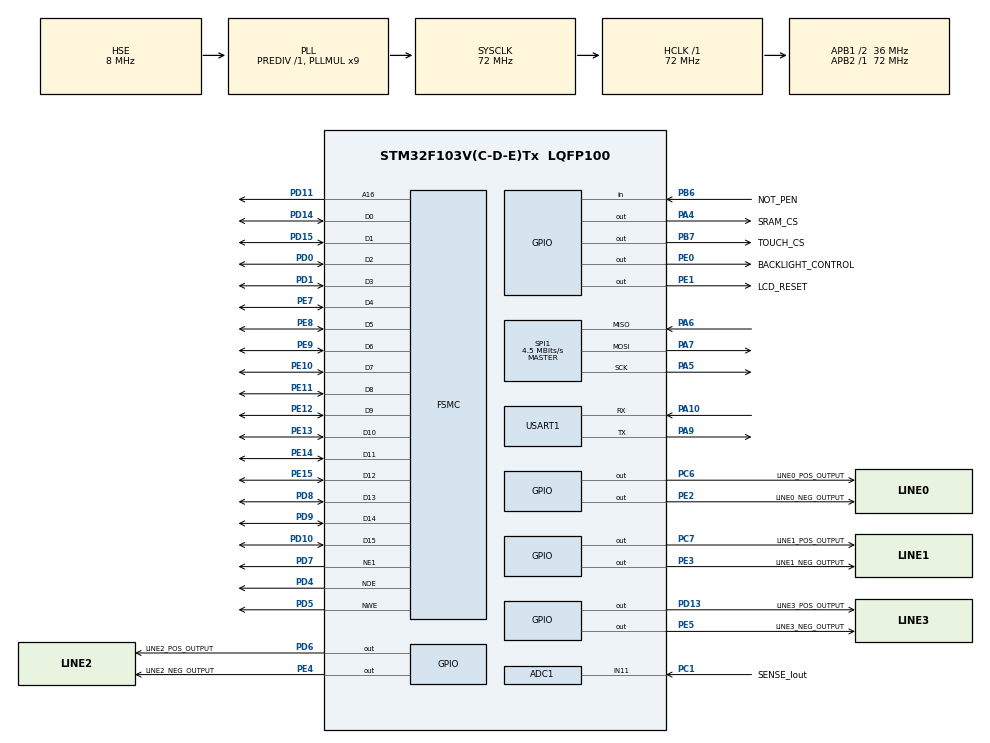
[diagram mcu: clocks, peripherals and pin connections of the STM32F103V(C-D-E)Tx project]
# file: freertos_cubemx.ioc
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ADC1.Channel-8\#ChannelRegularConversion=ADC_CHANNEL_11
ADC1.ContinuousConvMode=ENABLE
ADC1.NbrOfConversionFlag=1
ADC1.Rank-8\#ChannelRegularConversion=1
ADC1.SamplingTime-8\#ChannelRegularConversion=ADC_SAMPLETIME_1CYCLE_5
ADC1.master=1
Dma.ADC1.1.Direction=DMA_PERIPH_TO_MEMORY
Dma.ADC1.1.Instance=DMA1_Channel1
Dma.ADC1.1.MemDataAlignment=DMA_MDATAALIGN_HALFWORD
Dma.ADC1.1.MemInc=DMA_MINC_ENABLE
Dma.ADC1.1.Mode=DMA_NORMAL
Dma.ADC1.1.PeriphDataAlignment=DMA_PDATAALIGN_HALFWORD
Dma.ADC1.1.PeriphInc=DMA_PINC_DISABLE
Dma.ADC1.1.Priority=DMA_PRIORITY_LOW
Dma.Request0=USART1_RX
Dma.Request1=ADC1
Dma.USART1_RX.0.Direction=DMA_PERIPH_TO_MEMORY
Dma.USART1_RX.0.Instance=DMA1_Channel5
Dma.USART1_RX.0.MemDataAlignment=DMA_MDATAALIGN_BYTE
Dma.USART1_RX.0.MemInc=DMA_MINC_ENABLE
Dma.USART1_RX.0.Mode=DMA_NORMAL
Dma.USART1_RX.0.PeriphDataAlignment=DMA_PDATAALIGN_BYTE
Dma.USART1_RX.0.PeriphInc=DMA_PINC_DISABLE
Dma.USART1_RX.0.Priority=DMA_PRIORITY_LOW
FREERTOS.HEAP_NUMBER=4
FREERTOS.Tasks01=defaultTask,0,512,StartDefaultTask,Default,NULL,Dynamic,NULL,NULL;GUI,0,600,vTaskGUI,Default,NULL,Dynamic,NULL,NULL;TaskLine0,0,128,vTaskLine0,Default,NULL,Dynamic,NULL,NULL;TaskLine1,0,128,vTaskLine1,Default,NULL,Dynamic,NULL,NULL;TaskLine2,0,128,vTaskLine2,Default,NULL,Dynamic,NULL,NULL;TaskLine3,0,128,vTaskLine3,Default,NULL,Dynamic,NULL,NULL
FREERTOS.configTOTAL_HEAP_SIZE=16384
FREERTOS.configUSE_COUNTING_SEMAPHORES=1
FSMC.AddressSetupTime1=2
FSMC.BusTurnAroundDuration1=0
FSMC.DataSetupTime1=5
Mcu.Family=STM32F1
Mcu.Name=STM32F103V(C-D-E)Tx
Mcu.Package=LQFP100
NVIC.ADC1_2_IRQn=true\:5\:0\:false\:false\:true\:true\:true
NVIC.DMA1_Channel1_IRQn=true\:5\:0\:false\:false\:true\:true\:false
NVIC.DMA1_Channel5_IRQn=true\:5\:0\:false\:false\:true\:true\:false
NVIC.PriorityGroup=NVIC_PRIORITYGROUP_4
NVIC.RTC_IRQn=true\:15\:0\:true\:false\:true\:true\:true
NVIC.TIM1_UP_IRQn=true\:0\:0\:false\:false\:true\:false\:false
NVIC.TIM7_IRQn=true\:15\:0\:true\:false\:true\:true\:true
NVIC.TimeBase=TIM1_UP_IRQn
NVIC.TimeBaseIP=TIM1
NVIC.USART1_IRQn=true\:5\:0\:false\:false\:true\:true\:true
OSC_IN.Mode=HSE-External-Oscillator
OSC_IN.Signal=RCC_OSC_IN
OSC_OUT.Mode=HSE-External-Oscillator
OSC_OUT.Signal=RCC_OSC_OUT
PA10.Mode=Asynchronous
PA10.Signal=USART1_RX
PA13.Mode=JTAG_5_pins
PA13.Signal=SYS_JTMS-SWDIO
PA14.Mode=JTAG_5_pins
PA14.Signal=SYS_JTCK-SWCLK
PA15.Mode=JTAG_5_pins
PA15.Signal=SYS_JTDI
PA4.GPIO_Label=SRAM_CS
PA4.GPIO_ModeDefaultOutputPP=GPIO_MODE_OUTPUT_PP
PA4.GPIO_PuPd=GPIO_NOPULL
PA4.GPIO_Speed=GPIO_SPEED_FREQ_LOW
PA4.PinState=GPIO_PIN_RESET
PA4.Signal=GPIO_Output
PA5.Mode=Full_Duplex_Master
PA5.Signal=SPI1_SCK
PA6.Mode=Full_Duplex_Master
PA6.Signal=SPI1_MISO
PA7.Mode=Full_Duplex_Master
PA7.Signal=SPI1_MOSI
PA9.Mode=Asynchronous
PA9.Signal=USART1_TX
PB3.Mode=JTAG_5_pins
PB3.Signal=SYS_JTDO-TRACESWO
PB4.Mode=JTAG_5_pins
PB4.Signal=SYS_NJTRST
PB6.GPIO_Label=NOT_PEN
PB6.GPIO_Mode=GPIO_MODE_INPUT
PB6.GPIO_PuPd=GPIO_PULLUP
PB6.Signal=GPIO_Input
PB7.GPIO_Label=TOUCH_CS
PB7.GPIO_ModeDefaultOutputPP=GPIO_MODE_OUTPUT_PP
PB7.GPIO_PuPd=GPIO_NOPULL
PB7.GPIO_Speed=GPIO_SPEED_FREQ_LOW
PB7.PinState=GPIO_PIN_RESET
PB7.Signal=GPIO_Output
PC1.GPIO_Label=SENSE_Iout
PC1.Signal=ADCx_IN11
PC14-OSC32_IN.Mode=LSE-External-Oscillator
PC14-OSC32_IN.Signal=RCC_OSC32_IN
PC15-OSC32_OUT.Mode=LSE-External-Oscillator
PC15-OSC32_OUT.Signal=RCC_OSC32_OUT
PC6.GPIO_Label=LINE0_POS_OUTPUT
PC6.GPIO_ModeDefaultOutputPP=GPIO_MODE_OUTPUT_PP
PC6.GPIO_PuPd=GPIO_NOPULL
PC6.GPIO_Speed=GPIO_SPEED_FREQ_LOW
PC6.PinState=GPIO_PIN_RESET
PC6.Signal=GPIO_Output
PC7.GPIO_Label=LINE1_POS_OUTPUT
PC7.GPIO_ModeDefaultOutputPP=GPIO_MODE_OUTPUT_PP
PC7.GPIO_PuPd=GPIO_NOPULL
PC7.GPIO_Speed=GPIO_SPEED_FREQ_LOW
PC7.PinState=GPIO_PIN_RESET
PC7.Signal=GPIO_Output
PD0.Mode=16b-d1
PD0.Signal=FSMC_D2
PD1.Mode=16b-d1
PD1.Signal=FSMC_D3
PD10.Mode=16b-d1
PD10.Signal=FSMC_D15
PD11.Mode=A16_1
PD11.Signal=FSMC_A16
PD13.GPIO_Label=LINE3_POS_OUTPUT
PD13.GPIO_ModeDefaultOutputPP=GPIO_MODE_OUTPUT_PP
PD13.GPIO_PuPd=GPIO_NOPULL
PD13.GPIO_Speed=GPIO_SPEED_FREQ_LOW
PD13.PinState=GPIO_PIN_RESET
PD13.Signal=GPIO_Output
PD14.Mode=16b-d1
PD14.Signal=FSMC_D0
PD15.Mode=16b-d1
PD15.Signal=FSMC_D1
PD4.Mode=Lcd1
PD4.Signal=FSMC_NOE
PD5.Mode=Lcd1
PD5.Signal=FSMC_NWE
PD6.GPIO_Label=LINE2_POS_OUTPUT
PD6.GPIO_ModeDefaultOutputPP=GPIO_MODE_OUTPUT_PP
PD6.GPIO_PuPd=GPIO_NOPULL
PD6.GPIO_Speed=GPIO_SPEED_FREQ_LOW
PD6.PinState=GPIO_PIN_RESET
PD6.Signal=GPIO_Output
PD7.Mode=NorPsramChipSelect1_1
PD7.Signal=FSMC_NE1
PD8.Mode=16b-d1
PD8.Signal=FSMC_D13
PD9.Mode=16b-d1
PD9.Signal=FSMC_D14
PE0.GPIO_Label=BACKLIGHT_CONTROL
PE0.GPIO_ModeDefaultOutputPP=GPIO_MODE_OUTPUT_OD
PE0.GPIO_PuPd=GPIO_PULLUP
PE0.Signal=GPIO_Output
PE1.GPIO_Label=LCD_RESET
PE1.GPIO_ModeDefaultOutputPP=GPIO_MODE_OUTPUT_PP
PE1.GPIO_PuPd=GPIO_NOPULL
PE1.GPIO_Speed=GPIO_SPEED_FREQ_LOW
PE1.PinState=GPIO_PIN_RESET
PE1.Signal=GPIO_Output
PE10.Mode=16b-d1
PE10.Signal=FSMC_D7
PE11.Mode=16b-d1
PE11.Signal=FSMC_D8
PE12.Mode=16b-d1
PE12.Signal=FSMC_D9
PE13.Mode=16b-d1
PE13.Signal=FSMC_D10
PE14.Mode=16b-d1
PE14.Signal=FSMC_D11
PE15.Mode=16b-d1
PE15.Signal=FSMC_D12
PE2.GPIO_Label=LINE0_NEG_OUTPUT
PE2.GPIO_ModeDefaultOutputPP=GPIO_MODE_OUTPUT_PP
PE2.GPIO_PuPd=GPIO_NOPULL
PE2.GPIO_Speed=GPIO_SPEED_FREQ_LOW
PE2.PinState=GPIO_PIN_RESET
PE2.Signal=GPIO_Output
PE3.GPIO_Label=LINE1_NEG_OUTPUT
PE3.GPIO_ModeDefaultOutputPP=GPIO_MODE_OUTPUT_PP
PE3.GPIO_PuPd=GPIO_NOPULL
PE3.GPIO_Speed=GPIO_SPEED_FREQ_LOW
PE3.PinState=GPIO_PIN_RESET
PE3.Signal=GPIO_Output
PE4.GPIO_Label=LINE2_NEG_OUTPUT 
PE4.GPIO_ModeDefaultOutputPP=GPIO_MODE_OUTPUT_PP
PE4.GPIO_PuPd=GPIO_NOPULL
PE4.GPIO_Speed=GPIO_SPEED_FREQ_LOW
PE4.PinState=GPIO_PIN_RESET
PE4.Signal=GPIO_Output
PE5.GPIO_Label=LINE3_NEG_OUTPUT
PE5.GPIO_ModeDefaultOutputPP=GPIO_MODE_OUTPUT_PP
PE5.GPIO_PuPd=GPIO_NOPULL
PE5.GPIO_Speed=GPIO_SPEED_FREQ_LOW
PE5.PinState=GPIO_PIN_RESET
PE5.Signal=GPIO_Output
PE7.Mode=16b-d1
PE7.Signal=FSMC_D4
PE8.Mode=16b-d1
PE8.Signal=FSMC_D5
PE9.Mode=16b-d1
PE9.Signal=FSMC_D6
ProjectManager.HeapSize=0x200
ProjectManager.StackSize=0x400
ProjectManager.TargetToolchain=Other Toolchains (GPDSC)
RCC.ADCPresc=RCC_ADCPCLK2_DIV6
RCC.AHBFreq_Value=72000000
RCC.APB1CLKDivider=RCC_HCLK_DIV2
RCC.APB1Freq_Value=36000000
RCC.APB1TimFreq_Value=72000000
RCC.APB2Freq_Value=72000000
RCC.APB2TimFreq_Value=72000000
RCC.HCLKFreq_Value=72000000
RCC.PLLMUL=RCC_PLL_MUL9
RCC.PLLSourceVirtual=RCC_PLLSOURCE_HSE
RCC.RTCClockSelection=RCC_RTCCLKSOURCE_LSE
RCC.SYSCLKFreq_VALUE=72000000
RCC.SYSCLKSource=RCC_SYSCLKSOURCE_PLLCLK
RCC.USBFreq_Value=72000000
RTC.Date=17
RTC.Hours=23
RTC.Minutes=51
RTC.Month=RTC_MONTH_DECEMBER
RTC.Year=18
SH.ADCx_IN11.0=ADC1_IN11,IN11
SPI1.BaudRatePrescaler=SPI_BAUDRATEPRESCALER_16
SPI1.CLKPhase=SPI_PHASE_2EDGE
SPI1.CLKPolarity=SPI_POLARITY_HIGH
SPI1.CRCCalculation=SPI_CRCCALCULATION_ENABLE
SPI1.CalculateBaudRate=4.5 MBits/s
SPI1.Direction=SPI_DIRECTION_2LINES
SPI1.Mode=SPI_MODE_MASTER
SPI1.VirtualType=VM_MASTER
TIM7.Period=62999
TIM7.Prescaler=50
USART1.VirtualMode=VM_ASYNC
VP_CRC_VS_CRC.Mode=CRC_Activate
VP_FREERTOS_VS_ENABLE.Mode=Enabled
VP_RTC_VS_RTC_Activate.Mode=RTC_Enabled
VP_RTC_VS_RTC_Calendar.Mode=RTC_Calendar
VP_SYS_VS_tim1.Mode=TIM1
VP_TIM7_VS_ClockSourceINT.Mode=Enable_Timer
board=custom

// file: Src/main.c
/* USER CODE BEGIN Header */
/**
  ******************************************************************************
  * @file           : main.c
  * @brief          : Main program body
  ******************************************************************************
  * This notice applies to any and all portions of this file
  * that are not between comment pairs USER CODE BEGIN and
  * USER CODE END. Other portions of this file, whether
  * inserted by the user or by software development tools
  * are owned by their respective copyright owners.
  *
  * Copyright (c) 2018 STMicroelectronics International N.V.
  * All rights reserved.
  *
  * Redistribution and use in source and binary forms, with or without
  * modification, are permitted, provided that the following conditions are met:
  *
  * 1. Redistribution of source code must retain the above copyright notice,
  *    this list of conditions and the following disclaimer.
  * 2. Redistributions in binary form must reproduce the above copyright notice,
  *    this list of conditions and the following disclaimer in the documentation
  *    and/or other materials provided with the distribution.
  * 3. Neither the name of STMicroelectronics nor the names of other
  *    contributors to this software may be used to endorse or promote products
  *    derived from this software without specific written permission.
  * 4. This software, including modifications and/or derivative works of this
  *    software, must execute solely and exclusively on microcontroller or
  *    microprocessor devices manufactured by or for STMicroelectronics.
  * 5. Redistribution and use of this software other than as permitted under
  *    this license is void and will automatically terminate your rights under
  *    this license.
  *
  * THIS SOFTWARE IS PROVIDED BY STMICROELECTRONICS AND CONTRIBUTORS "AS IS"
  * AND ANY EXPRESS, IMPLIED OR STATUTORY WARRANTIES, INCLUDING, BUT NOT
  * LIMITED TO, THE IMPLIED WARRANTIES OF MERCHANTABILITY, FITNESS FOR A
  * PARTICULAR PURPOSE AND NON-INFRINGEMENT OF THIRD PARTY INTELLECTUAL PROPERTY
  * RIGHTS ARE DISCLAIMED TO THE FULLEST EXTENT PERMITTED BY LAW. IN NO EVENT
  * SHALL STMICROELECTRONICS OR CONTRIBUTORS BE LIABLE FOR ANY DIRECT, INDIRECT,
  * INCIDENTAL, SPECIAL, EXEMPLARY, OR CONSEQUENTIAL DAMAGES (INCLUDING, BUT NOT
  * LIMITED TO, PROCUREMENT OF SUBSTITUTE GOODS OR SERVICES; LOSS OF USE, DATA,
  * OR PROFITS; OR BUSINESS INTERRUPTION) HOWEVER CAUSED AND ON ANY THEORY OF
  * LIABILITY, WHETHER IN CONTRACT, STRICT LIABILITY, OR TORT (INCLUDING
  * NEGLIGENCE OR OTHERWISE) ARISING IN ANY WAY OUT OF THE USE OF THIS SOFTWARE,
  * EVEN IF ADVISED OF THE POSSIBILITY OF SUCH DAMAGE.
  *
  ******************************************************************************
  */
/* USER CODE END Header */

#include "main.h"
#include "cmsis_os.h"

/* USER CODE BEGIN Includes */
#include "lcdcmd.h"
#include "GUI.h"
#include "mainMenu.h"
#include "guivars.h"
#include "lines.h"
#include "timedate.h"
#include "backup.h"
#include "crc.h"
#include  "adc.h"
#include <stdbool.h>
/* USER CODE END Includes */

/* USER CODE BEGIN PD */
Variables variables;
uint8_t cnt;
RTC_TimeTypeDef sTime;
RTC_TimeTypeDef sTimePrev;
RTC_DateTypeDef sDate;
RTC_DateTypeDef sDatePrev;
WM_MESSAGE msg;
WM_MESSAGE msgButton;

uint8_t tickSecond = 0;
extern uint16_t backgroundBuffer[18];

GUI_ALLOC_INFO pInfo;
uint8_t doTimeCorrection = 0;

/* USER CODE END PD */

ADC_HandleTypeDef hadc1;
DMA_HandleTypeDef hdma_adc1;

CRC_HandleTypeDef hcrc;

RTC_HandleTypeDef hrtc;

SPI_HandleTypeDef hspi1;

TIM_HandleTypeDef htim7;

UART_HandleTypeDef huart1;
DMA_HandleTypeDef hdma_usart1_rx;

SRAM_HandleTypeDef hsram1;

osThreadId defaultTaskHandle;
osThreadId GUIHandle;
osThreadId TaskLine0Handle;
osThreadId TaskLine1Handle;
osThreadId TaskLine2Handle;
osThreadId TaskLine3Handle;

void SystemClock_Config(void);
static void MX_GPIO_Init(void);
static void MX_DMA_Init(void);
static void MX_FSMC_Init(void);
static void MX_CRC_Init(void);
static void MX_SPI1_Init(void);
static void MX_RTC_Init(void);
static void MX_TIM7_Init(void);
static void MX_USART1_UART_Init(void);
static void MX_ADC1_Init(void);
void StartDefaultTask(void const * argument);
void vTaskGUI(void const * argument);
void vTaskLine0(void const * argument);
void vTaskLine1(void const * argument);
void vTaskLine2(void const * argument);
void vTaskLine3(void const * argument);

/* USER CODE BEGIN PFP */
void delay(uint32_t delayTime);
/* USER CODE END PFP */

/* USER CODE BEGIN 0 */
void HAL_ADC_ConvCpltCallback(ADC_HandleTypeDef* hadc)
{
	masterClock.currentSense->DMAtransferComplete = 1;
}
void delay(uint32_t delayTime)
{
	uint32_t i;
	for (i = 0; i < delayTime; i++) ;
}
void HAL_RTCEx_RTCEventCallback(RTC_HandleTypeDef *hrtc)
{
	if (RTC_IT_SEC)
	{

		tickSecond = 1;

	}
}
void longPressControl(void)
{
	char text[9];
	if (masterClock.longPressCNT->direction == 0)
	{
		return;
	}
	if (masterClock.longPressCNT->direction < 0)
	{
		if (masterClock.longPressCNT->value <= masterClock.longPressCNT->lowerLimit)
		{
			return;
		}

	}
	if (masterClock.longPressCNT->direction > 0)
	{
		if (masterClock.longPressCNT->value >= masterClock.longPressCNT->upperLimit)
		{
			return;
		}
	}
	if (masterClock.longPressCNT->it && BUTTON_IsPressed(masterClock.longPressCNT->button))
	{
		masterClock.longPressCNT->itCNT++;
		if (masterClock.longPressCNT->itCNT > 3)
		{
			masterClock.longPressCNT->value += masterClock.longPressCNT->direction;
			if (masterClock.guiVars->menuState >= MENU_STATE_LINE1SETUP_PULSE && masterClock.guiVars->menuState <= MENU_STATE_LINE4SETUP_PULSE)
			{
				sprintf(text, "%4d", masterClock.longPressCNT->value * LINE_WIDTH_MULT);
			}
			else if ((masterClock.guiVars->menuState == MENU_STATE_TIME_SUMWIN || masterClock.guiVars->menuState == MENU_STATE_TIMECALIBRATION || (masterClock.guiVars->menuState >= MENU_STATE_LINE1SETUP && masterClock.guiVars->menuState <= MENU_STATE_LINE4SETUP)) && masterClock.longPressCNT->lowerLimit < 0)
			{
				if (masterClock.longPressCNT->value > 0)
				{
					sprintf(text, "+%d", masterClock.longPressCNT->value);
				}
				else if (masterClock.longPressCNT->value < 0)
				{
					sprintf(text, "%d", masterClock.longPressCNT->value);
				}
				else if (masterClock.longPressCNT->value == 0)
				{
					sprintf(text, "%d", 0);
				}

			}

			else
			{
				sprintf(text, "%02d", masterClock.longPressCNT->value);
			}
			HEADER_SetItemText(masterClock.longPressCNT->header, masterClock.longPressCNT->headerItem, text);
			HEADER_SetTextColor(masterClock.longPressCNT->header, GUI_WHITE);
			masterClock.longPressCNT->it = 0;
			masterClock.longPressCNT->itCNT = 4;
		}
	}
	else
	{
		masterClock.longPressCNT->itCNT = 0;
	}

}

/* USER CODE END 0 */

int main(void)
{

	/* MCU Configuration--------------------------------------------------------*/

	/* Reset of all peripherals, Initializes the Flash interface and the Systick. */
	HAL_Init();

	/* Configure the system clock */
	SystemClock_Config();

	/* Initialize all configured peripherals */
	MX_GPIO_Init();
	MX_DMA_Init();
	MX_FSMC_Init();
	MX_CRC_Init();
	MX_SPI1_Init();
	MX_RTC_Init();
	MX_TIM7_Init();
	MX_USART1_UART_Init();
	MX_ADC1_Init();
	/* USER CODE BEGIN 2 */
	//GUI_Init();
	__TURN_BACKLIGHT_ON;
	HAL_RTCEx_SetSecond_IT(&hrtc);
	//Init_SSD1289();

	variables.calibrated = 1;
	initStructures();
	LinesInit();
	readLinesPolarityFromBKP();
	readSettingsFromBKP();
	/* USER CODE END 2 */

	/* Create the thread(s) */
	/* definition and creation of defaultTask */
	osThreadDef(defaultTask, StartDefaultTask, osPriorityNormal, 0, 512);
	defaultTaskHandle = osThreadCreate(osThread(defaultTask), NULL);

	/* definition and creation of GUI */
	osThreadDef(GUI, vTaskGUI, osPriorityNormal, 0, 600);
	GUIHandle = osThreadCreate(osThread(GUI), NULL);

	/* definition and creation of TaskLine0 */
	osThreadDef(TaskLine0, vTaskLine0, osPriorityNormal, 0, 128);
	TaskLine0Handle = osThreadCreate(osThread(TaskLine0), NULL);

	/* definition and creation of TaskLine1 */
	osThreadDef(TaskLine1, vTaskLine1, osPriorityNormal, 0, 128);
	TaskLine1Handle = osThreadCreate(osThread(TaskLine1), NULL);

	/* definition and creation of TaskLine2 */
	osThreadDef(TaskLine2, vTaskLine2, osPriorityNormal, 0, 128);
	TaskLine2Handle = osThreadCreate(osThread(TaskLine2), NULL);

	/* definition and creation of TaskLine3 */
	osThreadDef(TaskLine3, vTaskLine3, osPriorityNormal, 0, 128);
	TaskLine3Handle = osThreadCreate(osThread(TaskLine3), NULL);

	/* Start scheduler */
	osKernelStart();

	/* We should never get here as control is now taken by the scheduler */

	/* Infinite loop */
	while (1)
	{

	}
}

void SystemClock_Config(void)
{
	RCC_OscInitTypeDef RCC_OscInitStruct = { 0 };
	RCC_ClkInitTypeDef RCC_ClkInitStruct = { 0 };
	RCC_PeriphCLKInitTypeDef PeriphClkInit = { 0 };

	/**Initializes the CPU, AHB and APB busses clocks
	*/
	RCC_OscInitStruct.OscillatorType = RCC_OSCILLATORTYPE_HSE | RCC_OSCILLATORTYPE_LSE;
	RCC_OscInitStruct.HSEState = RCC_HSE_ON;
	RCC_OscInitStruct.HSEPredivValue = RCC_HSE_PREDIV_DIV1;
	RCC_OscInitStruct.LSEState = RCC_LSE_ON;
	RCC_OscInitStruct.HSIState = RCC_HSI_ON;
	RCC_OscInitStruct.PLL.PLLState = RCC_PLL_ON;
	RCC_OscInitStruct.PLL.PLLSource = RCC_PLLSOURCE_HSE;
	RCC_OscInitStruct.PLL.PLLMUL = RCC_PLL_MUL9;
	if (HAL_RCC_OscConfig(&RCC_OscInitStruct) != HAL_OK)
	{
		Error_Handler();
	}
	/**Initializes the CPU, AHB and APB busses clocks
	*/
	RCC_ClkInitStruct.ClockType = RCC_CLOCKTYPE_HCLK | RCC_CLOCKTYPE_SYSCLK
	                            | RCC_CLOCKTYPE_PCLK1 | RCC_CLOCKTYPE_PCLK2;
	RCC_ClkInitStruct.SYSCLKSource = RCC_SYSCLKSOURCE_PLLCLK;
	RCC_ClkInitStruct.AHBCLKDivider = RCC_SYSCLK_DIV1;
	RCC_ClkInitStruct.APB1CLKDivider = RCC_HCLK_DIV2;
	RCC_ClkInitStruct.APB2CLKDivider = RCC_HCLK_DIV1;

	if (HAL_RCC_ClockConfig(&RCC_ClkInitStruct, FLASH_LATENCY_2) != HAL_OK)
	{
		Error_Handler();
	}
	PeriphClkInit.PeriphClockSelection = RCC_PERIPHCLK_RTC | RCC_PERIPHCLK_ADC;
	PeriphClkInit.RTCClockSelection = RCC_RTCCLKSOURCE_LSE;
	PeriphClkInit.AdcClockSelection = RCC_ADCPCLK2_DIV6;
	if (HAL_RCCEx_PeriphCLKConfig(&PeriphClkInit) != HAL_OK)
	{
		Error_Handler();
	}
}

static void MX_ADC1_Init(void)
{

	ADC_ChannelConfTypeDef sConfig = { 0 };

	/**Common config
	*/
	hadc1.Instance = ADC1;
	hadc1.Init.ScanConvMode = ADC_SCAN_DISABLE;
	hadc1.Init.ContinuousConvMode = ENABLE;
	hadc1.Init.DiscontinuousConvMode = DISABLE;
	hadc1.Init.ExternalTrigConv = ADC_SOFTWARE_START;
	hadc1.Init.DataAlign = ADC_DATAALIGN_RIGHT;
	hadc1.Init.NbrOfConversion = 1;
	if (HAL_ADC_Init(&hadc1) != HAL_OK)
	{
		Error_Handler();
	}
	/**Configure Regular Channel
	*/
	sConfig.Channel = ADC_CHANNEL_11;
	sConfig.Rank = ADC_REGULAR_RANK_1;
	sConfig.SamplingTime = ADC_SAMPLETIME_1CYCLE_5;
	if (HAL_ADC_ConfigChannel(&hadc1, &sConfig) != HAL_OK)
	{
		Error_Handler();
	}

}

static void MX_CRC_Init(void)
{

	hcrc.Instance = CRC;
	if (HAL_CRC_Init(&hcrc) != HAL_OK)
	{
		Error_Handler();
	}

}

static void MX_RTC_Init(void)
{

	/* USER CODE BEGIN RTC_Init 0 */
	uint8_t i = 0;
	uint32_t counter = 0, hours = 0;
	uint16_t read = 0, high1, high2, low;
	/* USER CODE END RTC_Init 0 */

	RTC_TimeTypeDef sTime = { 0 };
	RTC_DateTypeDef DateToUpdate = { 0 };

	/* USER CODE BEGIN RTC_Init 1 */
	hrtc.Instance = RTC;
	hrtc.Init.AsynchPrediv = RTC_AUTO_1_SECOND;
	hrtc.Init.OutPut = RTC_OUTPUTSOURCE_ALARM;
	if ((RCC->BDCR & RCC_BDCR_RTCEN) == 0)
	{
		if (HAL_RTC_Init(&hrtc) != HAL_OK)
		{
			Error_Handler();
		}

	}
	else
	{
		HAL_PWR_EnableBkUpAccess();
		__HAL_RCC_BKP_CLK_ENABLE();
		/* Peripheral clock enable */
		__HAL_RCC_RTC_ENABLE();
		/* RTC interrupt Init */
		HAL_NVIC_SetPriority(RTC_IRQn, 15, 0);
		HAL_NVIC_EnableIRQ(RTC_IRQn);
	}
	/* USER CODE END RTC_Init 1 */
	/**Initialize RTC Only
	*/
	hrtc.Instance = RTC;
	hrtc.Init.AsynchPrediv = RTC_AUTO_1_SECOND;
	hrtc.Init.OutPut = RTC_OUTPUTSOURCE_ALARM;
	if (HAL_RTC_Init(&hrtc) != HAL_OK)
	{
		Error_Handler();
	}

	/* USER CODE BEGIN Check_RTC_BKUP */
	read = rtc_read_backup_reg(BKP_DATE_OFFSET);

	if (((read & 0b1111111000000000) >> 9) < 100 && ((read & 0b111100000) >> 5) < 13 && (read & 0b11111) < 32)
	{
		DateToUpdate.Date = read & 0b11111;
		DateToUpdate.Month = (read & 0b111100000) >> 5;
		DateToUpdate.Year = (read & 0b1111111000000000) >> 9;

		DateToUpdate.WeekDay = (DateToUpdate.Date += DateToUpdate.Month < 3 ? DateToUpdate.Year-- : DateToUpdate.Year - 2, 23 * DateToUpdate.Month / 9 + DateToUpdate.Date + 4 + DateToUpdate.Year / 4 - DateToUpdate.Year / 100 + DateToUpdate.Year / 400) % 7;
		DateToUpdate.Date = read & 0b11111;
		DateToUpdate.Month = (read & 0b111100000) >> 5;
		DateToUpdate.Year = (read & 0b1111111000000000) >> 9;
		high1 = RTC->CNTH;
		low = RTC->CNTL;
		high2 = RTC->CNTH;
		if (high1 != high2)
		{
			counter = RTC->CNTL;
			counter |= (high2 << 16);
		}
		else
		{
			counter = low;
			counter |= (high1 << 16);
		}

		hours = counter / 3600U;
		if (hours >= 24U)
		{

			//increaseDay(&DateToUpdate);

		}
	}
	else
	{
		DateToUpdate.Date = 21;
		DateToUpdate.Month = 1;
		DateToUpdate.Year = 19;
		DateToUpdate.WeekDay = RTC_WEEKDAY_MONDAY;
	}
	if (!isCRC_OK_BKP())
	{
		DateToUpdate.Date = 12;
		DateToUpdate.Month = 12;
		DateToUpdate.Year = 18;
	}
	hrtc.DateToUpdate = DateToUpdate;

	/* USER CODE END Check_RTC_BKUP */

	/**Initialize RTC and set the Time and Date
	*/

	/* USER CODE BEGIN RTC_Init 2 */
	HAL_RTC_GetTime(&hrtc, &sTime, RTC_FORMAT_BIN);
	saveDateToBKP();
	/* USER CODE END RTC_Init 2 */

}

static void MX_SPI1_Init(void)
{

	/* SPI1 parameter configuration*/
	hspi1.Instance = SPI1;
	hspi1.Init.Mode = SPI_MODE_MASTER;
	hspi1.Init.Direction = SPI_DIRECTION_2LINES;
	hspi1.Init.DataSize = SPI_DATASIZE_8BIT;
	hspi1.Init.CLKPolarity = SPI_POLARITY_HIGH;
	hspi1.Init.CLKPhase = SPI_PHASE_2EDGE;
	hspi1.Init.NSS = SPI_NSS_SOFT;
	hspi1.Init.BaudRatePrescaler = SPI_BAUDRATEPRESCALER_16;
	hspi1.Init.FirstBit = SPI_FIRSTBIT_MSB;
	hspi1.Init.TIMode = SPI_TIMODE_DISABLE;
	hspi1.Init.CRCCalculation = SPI_CRCCALCULATION_ENABLE;
	hspi1.Init.CRCPolynomial = 10;
	if (HAL_SPI_Init(&hspi1) != HAL_OK)
	{
		Error_Handler();
	}

}

static void MX_TIM7_Init(void)
{

	TIM_MasterConfigTypeDef sMasterConfig = { 0 };

	htim7.Instance = TIM7;
	htim7.Init.Prescaler = 50;
	htim7.Init.CounterMode = TIM_COUNTERMODE_UP;
	htim7.Init.Period = 62999;
	htim7.Init.AutoReloadPreload = TIM_AUTORELOAD_PRELOAD_DISABLE;
	if (HAL_TIM_Base_Init(&htim7) != HAL_OK)
	{
		Error_Handler();
	}
	sMasterConfig.MasterOutputTrigger = TIM_TRGO_RESET;
	sMasterConfig.MasterSlaveMode = TIM_MASTERSLAVEMODE_DISABLE;
	if (HAL_TIMEx_MasterConfigSynchronization(&htim7, &sMasterConfig) != HAL_OK)
	{
		Error_Handler();
	}

}

static void MX_USART1_UART_Init(void)
{

	huart1.Instance = USART1;
	huart1.Init.BaudRate = 115200;
	huart1.Init.WordLength = UART_WORDLENGTH_8B;
	huart1.Init.StopBits = UART_STOPBITS_1;
	huart1.Init.Parity = UART_PARITY_NONE;
	huart1.Init.Mode = UART_MODE_TX_RX;
	huart1.Init.HwFlowCtl = UART_HWCONTROL_NONE;
	huart1.Init.OverSampling = UART_OVERSAMPLING_16;
	if (HAL_UART_Init(&huart1) != HAL_OK)
	{
		Error_Handler();
	}

}

static void MX_DMA_Init(void)
{
	/* DMA controller clock enable */
	__HAL_RCC_DMA1_CLK_ENABLE();

	/* DMA interrupt init */
	/* DMA1_Channel1_IRQn interrupt configuration */
	HAL_NVIC_SetPriority(DMA1_Channel1_IRQn, 5, 0);
	HAL_NVIC_EnableIRQ(DMA1_Channel1_IRQn);
	/* DMA1_Channel5_IRQn interrupt configuration */
	HAL_NVIC_SetPriority(DMA1_Channel5_IRQn, 5, 0);
	HAL_NVIC_EnableIRQ(DMA1_Channel5_IRQn);

}

static void MX_GPIO_Init(void)
{
	GPIO_InitTypeDef GPIO_InitStruct = { 0 };

	/* GPIO Ports Clock Enable */
	__HAL_RCC_GPIOE_CLK_ENABLE();
	__HAL_RCC_GPIOC_CLK_ENABLE();
	__HAL_RCC_GPIOA_CLK_ENABLE();
	__HAL_RCC_GPIOD_CLK_ENABLE();
	__HAL_RCC_GPIOB_CLK_ENABLE();

	/*Configure GPIO pin Output Level */
	HAL_GPIO_WritePin(GPIOE,
		LINE0_NEG_OUTPUT_Pin|LINE1_NEG_OUTPUT_Pin|LINE2_NEG_OUTPUT_Pin|LINE3_NEG_OUTPUT_Pin
	                        |BACKLIGHT_CONTROL_Pin|LCD_RESET_Pin,
		GPIO_PIN_RESET);

	/*Configure GPIO pin Output Level */
	HAL_GPIO_WritePin(SRAM_CS_GPIO_Port, SRAM_CS_Pin, GPIO_PIN_RESET);

	/*Configure GPIO pin Output Level */
	HAL_GPIO_WritePin(GPIOD, LINE3_POS_OUTPUT_Pin | LINE2_POS_OUTPUT_Pin, GPIO_PIN_RESET);

	/*Configure GPIO pin Output Level */
	HAL_GPIO_WritePin(GPIOC, LINE0_POS_OUTPUT_Pin | LINE1_POS_OUTPUT_Pin, GPIO_PIN_RESET);

	/*Configure GPIO pin Output Level */
	HAL_GPIO_WritePin(TOUCH_CS_GPIO_Port, TOUCH_CS_Pin, GPIO_PIN_RESET);

	/*Configure GPIO pins : LINE0_NEG_OUTPUT_Pin LINE1_NEG_OUTPUT_Pin LINE2_NEG_OUTPUT_Pin LINE3_NEG_OUTPUT_Pin
	                         LCD_RESET_Pin */
	GPIO_InitStruct.Pin = LINE0_NEG_OUTPUT_Pin | LINE1_NEG_OUTPUT_Pin | LINE2_NEG_OUTPUT_Pin | LINE3_NEG_OUTPUT_Pin
	                        | LCD_RESET_Pin;
	GPIO_InitStruct.Mode = GPIO_MODE_OUTPUT_PP;
	GPIO_InitStruct.Pull = GPIO_NOPULL;
	GPIO_InitStruct.Speed = GPIO_SPEED_FREQ_LOW;
	HAL_GPIO_Init(GPIOE, &GPIO_InitStruct);

	/*Configure GPIO pin : SRAM_CS_Pin */
	GPIO_InitStruct.Pin = SRAM_CS_Pin;
	GPIO_InitStruct.Mode = GPIO_MODE_OUTPUT_PP;
	GPIO_InitStruct.Pull = GPIO_NOPULL;
	GPIO_InitStruct.Speed = GPIO_SPEED_FREQ_LOW;
	HAL_GPIO_Init(SRAM_CS_GPIO_Port, &GPIO_InitStruct);

	/*Configure GPIO pins : LINE3_POS_OUTPUT_Pin LINE2_POS_OUTPUT_Pin */
	GPIO_InitStruct.Pin = LINE3_POS_OUTPUT_Pin | LINE2_POS_OUTPUT_Pin;
	GPIO_InitStruct.Mode = GPIO_MODE_OUTPUT_PP;
	GPIO_InitStruct.Pull = GPIO_NOPULL;
	GPIO_InitStruct.Speed = GPIO_SPEED_FREQ_LOW;
	HAL_GPIO_Init(GPIOD, &GPIO_InitStruct);

	/*Configure GPIO pins : LINE0_POS_OUTPUT_Pin LINE1_POS_OUTPUT_Pin */
	GPIO_InitStruct.Pin = LINE0_POS_OUTPUT_Pin | LINE1_POS_OUTPUT_Pin;
	GPIO_InitStruct.Mode = GPIO_MODE_OUTPUT_PP;
	GPIO_InitStruct.Pull = GPIO_NOPULL;
	GPIO_InitStruct.Speed = GPIO_SPEED_FREQ_LOW;
	HAL_GPIO_Init(GPIOC, &GPIO_InitStruct);

	/*Configure GPIO pin : NOT_PEN_Pin */
	GPIO_InitStruct.Pin = NOT_PEN_Pin;
	GPIO_InitStruct.Mode = GPIO_MODE_INPUT;
	GPIO_InitStruct.Pull = GPIO_PULLUP;
	HAL_GPIO_Init(NOT_PEN_GPIO_Port, &GPIO_InitStruct);

	/*Configure GPIO pin : TOUCH_CS_Pin */
	GPIO_InitStruct.Pin = TOUCH_CS_Pin;
	GPIO_InitStruct.Mode = GPIO_MODE_OUTPUT_PP;
	GPIO_InitStruct.Pull = GPIO_NOPULL;
	GPIO_InitStruct.Speed = GPIO_SPEED_FREQ_LOW;
	HAL_GPIO_Init(TOUCH_CS_GPIO_Port, &GPIO_InitStruct);

	/*Configure GPIO pin : BACKLIGHT_CONTROL_Pin */
	GPIO_InitStruct.Pin = BACKLIGHT_CONTROL_Pin;
	GPIO_InitStruct.Mode = GPIO_MODE_OUTPUT_OD;
	GPIO_InitStruct.Pull = GPIO_PULLUP;
	GPIO_InitStruct.Speed = GPIO_SPEED_FREQ_LOW;
	HAL_GPIO_Init(BACKLIGHT_CONTROL_GPIO_Port, &GPIO_InitStruct);

}

/* FSMC initialization function */
static void MX_FSMC_Init(void)
{
	FSMC_NORSRAM_TimingTypeDef Timing;

	hsram1.Instance = FSMC_NORSRAM_DEVICE;
	hsram1.Extended = FSMC_NORSRAM_EXTENDED_DEVICE;

	hsram1.Init.NSBank = FSMC_NORSRAM_BANK1;
	hsram1.Init.DataAddressMux = FSMC_DATA_ADDRESS_MUX_DISABLE;
	hsram1.Init.MemoryType = FSMC_MEMORY_TYPE_NOR;
	hsram1.Init.MemoryDataWidth = FSMC_NORSRAM_MEM_BUS_WIDTH_16;
	hsram1.Init.BurstAccessMode = FSMC_BURST_ACCESS_MODE_DISABLE;
	hsram1.Init.WaitSignalPolarity = FSMC_WAIT_SIGNAL_POLARITY_LOW;
	hsram1.Init.WrapMode = FSMC_WRAP_MODE_DISABLE;
	hsram1.Init.WaitSignalActive = FSMC_WAIT_TIMING_BEFORE_WS;
	hsram1.Init.WriteOperation = FSMC_WRITE_OPERATION_ENABLE;
	hsram1.Init.WaitSignal = FSMC_WAIT_SIGNAL_DISABLE;
	hsram1.Init.ExtendedMode = FSMC_EXTENDED_MODE_DISABLE;
	hsram1.Init.AsynchronousWait = FSMC_ASYNCHRONOUS_WAIT_DISABLE;
	hsram1.Init.WriteBurst = FSMC_WRITE_BURST_DISABLE;

	Timing.AddressSetupTime = 2;
	Timing.AddressHoldTime = 0;
	Timing.DataSetupTime = 5;
	Timing.BusTurnAroundDuration = 0;
	Timing.CLKDivision = 0;
	Timing.DataLatency = 0;
	Timing.AccessMode = FSMC_ACCESS_MODE_A;

	if (HAL_SRAM_Init(&hsram1, &Timing, NULL) != HAL_OK)
	{
		Error_Handler();
	}

	__HAL_AFIO_FSMCNADV_DISCONNECTED();

}
/* USER CODE BEGIN 4 */

/* FSMC initialization function */
/*
static void MX_FSMC_Init(void)
{
  FSMC_NORSRAM_TimingTypeDef Timing;

  hsram1.Instance = FSMC_NORSRAM_DEVICE;
  hsram1.Extended = FSMC_NORSRAM_EXTENDED_DEVICE;

  hsram1.Init.NSBank = FSMC_NORSRAM_BANK1;
  hsram1.Init.DataAddressMux = FSMC_DATA_ADDRESS_MUX_DISABLE;
  hsram1.Init.MemoryType = FSMC_MEMORY_TYPE_NOR;
  hsram1.Init.MemoryDataWidth = FSMC_NORSRAM_MEM_BUS_WIDTH_16;
  hsram1.Init.BurstAccessMode = FSMC_BURST_ACCESS_MODE_DISABLE;
  hsram1.Init.WaitSignalPolarity = FSMC_WAIT_SIGNAL_POLARITY_LOW;
  hsram1.Init.WrapMode = FSMC_WRAP_MODE_DISABLE;
  hsram1.Init.WaitSignalActive = FSMC_WAIT_TIMING_BEFORE_WS;
  hsram1.Init.WriteOperation = FSMC_WRITE_OPERATION_ENABLE;
  hsram1.Init.WaitSignal = FSMC_WAIT_SIGNAL_DISABLE;
  hsram1.Init.ExtendedMode = FSMC_EXTENDED_MODE_DISABLE;
  hsram1.Init.AsynchronousWait = FSMC_ASYNCHRONOUS_WAIT_DISABLE;
  hsram1.Init.WriteBurst = FSMC_WRITE_BURST_DISABLE;

  Timing.AddressSetupTime = 2;
  Timing.AddressHoldTime = 0;
  Timing.DataSetupTime = 5;
  Timing.BusTurnAroundDuration = 0;
  Timing.CLKDivision = 0;
  Timing.DataLatency = 0;
  Timing.AccessMode = FSMC_ACCESS_MODE_A;

  if (HAL_SRAM_Init(&hsram1, &Timing, NULL) != HAL_OK)
  {
	Error_Handler( );
  }

  __HAL_AFIO_FSMCNADV_DISCONNECTED();

} */
/* USER CODE END 4 */

void StartDefaultTask(void const * argument)
{

	/* USER CODE BEGIN 5 */
	CalibrDataRead(&variables);

	/* Infinite loop */
	for (;;)
	{

		osDelay(50);

		touch_control(&variables);
		refreshCurrentMeter(masterClock.currentSense);
		if (masterClock.longPressCNT->it)
		{
			longPressControl();
		}

	}
	/* USER CODE END 5 */
}

void vTaskGUI(void const * argument)
{
	/* USER CODE BEGIN vTaskGUI */

	uint16_t i = 0;

	GUI_Init();
	//Calibrate(&variables);
	HAL_RTC_GetDate(&hrtc, &sDate, RTC_FORMAT_BIN);
	CreateMainMenu();
	HAL_RTC_GetTime(&hrtc, &sTime, RTC_FORMAT_BIN);
	masterClock.line[0].TimeZone = masterClock.daylightSaving->timeZone;
	pollLinesOutput(10);

	/* Infinite loop */
	for (; ;)
	{

		GUI_Delay(250);
		GUI_ALLOC_GetMemInfo(&pInfo);

		if (tickSecond) //см. callback  HAL_RTCEx_RTCEventCallback
			{
				HAL_RTC_GetTime(&hrtc, &sTime, RTC_FORMAT_BIN);
				//калибровка
				if(sTime.Hours == 0 && sTime.Minutes == 0 && sTime.Seconds == 0)
				{
					timeCalibr.isCalibrated = false;
					masterClock.daylightSaving->needToShift = true;
				}
				//коррекция происходит в 01:02:00
				if(doTimeCorrection || (sTime.Hours == 1 && sTime.Minutes == 2 && sTime.Seconds == 30))
				{

					if (masterClock.timeCalibration->seconds != 0 && masterClock.timeCalibration->days != 0 && timeCalibr.isCalibrated == false) //если калибровка включена
						{
							masterClock.timeCalibration->daysPassed++;
							if (masterClock.timeCalibration->daysPassed == masterClock.timeCalibration->days) //если настал день калибровки
								{
									if (masterClock.timeCalibration->seconds > 0) //если добавить секунды
										{
											sTime.Seconds += masterClock.timeCalibration->seconds;                                    //прибавили секунды
											if(HAL_RTC_SetTime(&hrtc, &sTime, RTC_FORMAT_BIN) != HAL_OK)
											{
												Error_Handler();
											}
										}
									if (masterClock.timeCalibration->seconds < 0) //если убавить секунды
										{
											sTime.Seconds += masterClock.timeCalibration->seconds;                                     //прибавили секунды
											if(HAL_RTC_SetTime(&hrtc, &sTime, RTC_FORMAT_BIN) != HAL_OK)
											{
												Error_Handler();
											}
										}
									masterClock.timeCalibration->daysPassed = 0;                                    // 1 => 0
									timeCalibr.isCalibrated = true;
								}
						}
					if (doTimeCorrection || (masterClock.daylightSaving->needToShift&& masterClock.daylightSaving->enableDLS&&isDaylightSavingTimeEU(sDate.Date, sDate.Month, sDate.WeekDay)))
					{
						sTime.Hours += masterClock.daylightSaving->timeShift;
						pollLinesOutput(10);
						masterClock.daylightSaving->needToShift = false;
						if (HAL_RTC_SetTime(&hrtc, &sTime, RTC_FORMAT_BIN) != HAL_OK)
						{
							Error_Handler();
						}
					}
					doTimeCorrection = false;

				}
				if (sTimePrev.Seconds == 59) //каждую минуту
					{
						for (i = 0; i < LINES_AMOUNT; ++i)
						{
							if (masterClock.line[i].Pulses >= 0)
							{
								xSemaphoreGive(masterClock.line[i].xSemaphore);
							}
							else
							{
								masterClock.line[i].Pulses++;
							}
						}
					}
				if (sTimePrev.Hours == 23 && sTime.Hours == 0) //сменился день
					{
						saveDateToBKP();
						switch (masterClock.guiVars->menuState) {
						case MENU_STATE_MAIN:
							sendMsg(masterClock.handles->hMainMenu, WM_DATE_UPDATE);
							break;
						case MENU_STATE_TIMEDATESETUP:
							sendMsg(masterClock.handles->hTimeDateSetupMenu, WM_DATE_UPDATE);
							break;
						}
					}
				switch (masterClock.guiVars->menuState) {
				case MENU_STATE_MAIN:
					sendMsg(masterClock.handles->hMainMenu, WM_SEC_UPDATE);
					menuLocker(&masterClock.handles->hMainMenu);
					break;
				case MENU_STATE_TIMESETUP:
					sendMsg(masterClock.handles->hTimeSetupMenu, WM_SEC_UPDATE);
					menuLocker(&masterClock.handles->hTimeSetupMenu);
					break;
				case MENU_STATE_LINE1SETUP:
					sendMsg(masterClock.handles->hLineSetupMenu, WM_SEC_UPDATE);
					menuLocker(&masterClock.handles->hLineSetupMenu);
					break;
				case MENU_STATE_LINE2SETUP:
					sendMsg(masterClock.handles->hLineSetupMenu, WM_SEC_UPDATE);
					menuLocker(&masterClock.handles->hLineSetupMenu);
					break;
				case MENU_STATE_LINE3SETUP:
					sendMsg(masterClock.handles->hLineSetupMenu, WM_SEC_UPDATE);
					menuLocker(&masterClock.handles->hLineSetupMenu);
					break;
				case MENU_STATE_LINE4SETUP:
					sendMsg(masterClock.handles->hLineSetupMenu, WM_SEC_UPDATE);
					menuLocker(&masterClock.handles->hLineSetupMenu);
					break;
				case MENU_STATE_LINE1SETUP_PULSE:
					sendMsg(masterClock.handles->hLineSetupPulseMenu, WM_SEC_UPDATE);
					menuLocker(&masterClock.handles->hLineSetupPulseMenu);
					break;
				case MENU_STATE_LINE2SETUP_PULSE:
					sendMsg(masterClock.handles->hLineSetupPulseMenu, WM_SEC_UPDATE);
					menuLocker(&masterClock.handles->hLineSetupPulseMenu);
					break;
				case MENU_STATE_LINE3SETUP_PULSE:
					sendMsg(masterClock.handles->hLineSetupPulseMenu, WM_SEC_UPDATE);
					menuLocker(&masterClock.handles->hLineSetupPulseMenu);
					break;
				case MENU_STATE_LINE4SETUP_PULSE:
					sendMsg(masterClock.handles->hLineSetupPulseMenu, WM_SEC_UPDATE);
					menuLocker(&masterClock.handles->hLineSetupPulseMenu);
					break;
				case MENU_STATE_PASSWORD:
					sendMsg(masterClock.handles->hPasswordMenu, WM_SEC_UPDATE);
					break;
				case MENU_STATE_SETTINGS:
					menuLocker(&masterClock.handles->hLineSetupPulseMenu);
					break;

				}
				tickSecond = 0;
				sTimePrev = sTime;
			}

	}
	/* USER CODE END vTaskGUI */
}

void vTaskLine0(void const * argument)
{
	/* USER CODE BEGIN vTaskLine0 */
				  /* Infinite loop */
	for (;;)
	{
		xSemaphoreTake(masterClock.line[0].xSemaphore, portMAX_DELAY);
		lineSendSignal(0);
		saveLineToBKP(0);
	}
	/* USER CODE END vTaskLine0 */
}

void vTaskLine1(void const * argument)
{
	/* USER CODE BEGIN vTaskLine1 */
				  /* Infinite loop */
	for (;;)
	{
		xSemaphoreTake(masterClock.line[1].xSemaphore, portMAX_DELAY);
		lineSendSignal(1);
		saveLineToBKP(1);
	}
	/* USER CODE END vTaskLine1 */
}

void vTaskLine2(void const * argument)
{
	/* USER CODE BEGIN vTaskLine2 */
				  /* Infinite loop */
	for (;;)
	{
		xSemaphoreTake(masterClock.line[2].xSemaphore, portMAX_DELAY);
		lineSendSignal(2);
		saveLineToBKP(2);
	}
	/* USER CODE END vTaskLine2 */
}

void vTaskLine3(void const * argument)
{
	/* USER CODE BEGIN vTaskLine3 */
				  /* Infinite loop */
	for (;;)
	{
		xSemaphoreTake(masterClock.line[3].xSemaphore, portMAX_DELAY);
		lineSendSignal(3);
		saveLineToBKP(3);
	}
	/* USER CODE END vTaskLine3 */
}

void HAL_TIM_PeriodElapsedCallback(TIM_HandleTypeDef *htim)
{
	if (htim->Instance == TIM1) {
		HAL_IncTick();
	}
}

void Error_Handler(void)
{
}

/************************ (C) COPYRIGHT STMicroelectronics *****END OF FILE****/
